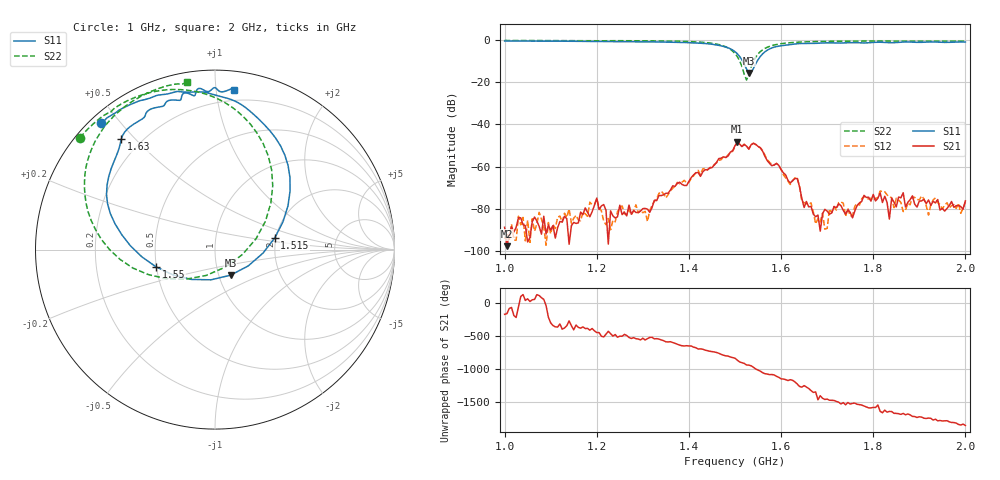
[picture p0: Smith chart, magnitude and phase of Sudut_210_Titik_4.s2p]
# Hz S RI R 50
! CMT, C1220, 16058040, 17.2.0/1
! Date: 14/08/2018 12:31:54
! Data: Format (Calibration Info)
! Freq  S11: Re/Im (F2)  S21: Re/Im (F2)  S12: Re/Im (F2)  S22: Re/Im (F2)
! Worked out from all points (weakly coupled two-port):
!   201 points, 1 GHz to 2 GHz, reference 50 ohm
!   highest |S21| = -48.21 dB at 1.505 GHz (marker M1); lowest = -97.6 dB at 1.005 GHz (marker M2)
!   lowest |S11| = -15.6 dB at 1.53 GHz (marker M3), VSWR 1.40, Z = 56.8 - j16.7 ohm
!   |S11| at or under -10 dB: 1.516 GHz to 1.548 GHz (31.71 MHz wide, 2.07 % of centre)
!   |S22| runs from -18.9 to -0.2 dB; largest |S21 - S12| = 0.00027
!   S11 on the Smith chart (normalised r, x): 1 GHz: 0.03, +0.45; 1.515 GHz: 1.97, +0.29; 1.55 GHz: 0.50, -0.11; 1.63 GHz: 0.13, +0.46; 2 GHz: 0.12, +1.12
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1e9  -0.6325 0.7076  -3.65e-05 -3.98e-06  1.96e-05 -1.76e-06  -0.7534 0.6237
1.005e9  -0.6252 0.7126  -1.26e-05 -3.54e-06  -2.32e-05 1.5e-05  -0.7496 0.6278
1.17e9  -0.4554 0.8149  7.31e-05 -5.23e-06  7.64e-05 -3.63e-05  -0.6173 0.7489
1.2e9  -0.4126 0.8308  -1.59e-06 -0.000181  -2.6e-05 -0.000174  -0.5838 0.7623
1.315e9  -0.2183 0.88  -7.99e-05 -2.26e-05  -9.02e-05 -7.08e-06  -0.4397 0.8504
1.335e9  -0.1909 0.8793  -0.000207 3.44e-05  -0.000219 8.38e-05  -0.4019 0.8635
1.45e9  0.1941 0.7719  0.000897 -0.00032  0.000892 -0.000402  0.0197 0.8377
1.5e9  0.4185 0.3281  -0.00161 -0.0027  -0.00154 -0.00255  0.3218 0.3553
1.505e9  0.4067 0.2443  -0.00332 -0.00202  -0.00314 -0.002  0.3111 0.2599
1.515e9  0.3327 0.0649  -0.00297 0.000366  -0.00304 0.000341  0.2289 0.0607
1.53e9  0.0864 -0.1427  -0.00184 0.00184  -0.00184 0.00191  -0.0489 -0.1438
1.55e9  -0.3284 -0.0962  0.00151 0.00263  0.00139 0.00267  -0.4577 -0.1027
1.63e9  -0.5225 0.6145  -0.000256 -0.000455  -0.00026 -0.00048  -0.6941 0.543
1.65e9  -0.4721 0.6855  -0.000108 -7.22e-06  -0.000136 -3.34e-05  -0.6608 0.616
1.67e9  -0.4046 0.7285  1.25e-05 7.4e-05  -1.02e-06 8.49e-05  -0.6256 0.6714
1.815e9  -0.1637 0.8731  -0.000215 0.000107  -0.000248 9.57e-05  -0.4056 0.8581
1.835e9  -0.1207 0.858  -5.06e-05 2.74e-05  -0.000191 1.54e-05  -0.3788 0.8714
1.865e9  -0.098 0.8936  -0.000127 0.000205  2.44e-05 8.31e-05  -0.3379 0.8886
1.87e9  -0.0915 0.8977  -2.08e-05 0.00011  -1.97e-05 9.02e-05  -0.3308 0.8914
1.885e9  -0.0636 0.8897  4.99e-05 0.000198  -2.53e-05 0.000193  -0.3094 0.8993
1.895e9  -0.0449 0.8806  5.5e-05 9.63e-05  6.43e-05 0.000155  -0.2951 0.904
2e9  0.107 0.8911  7.49e-05 -0.000136  7.48e-05 -0.000126  -0.1557 0.9315
